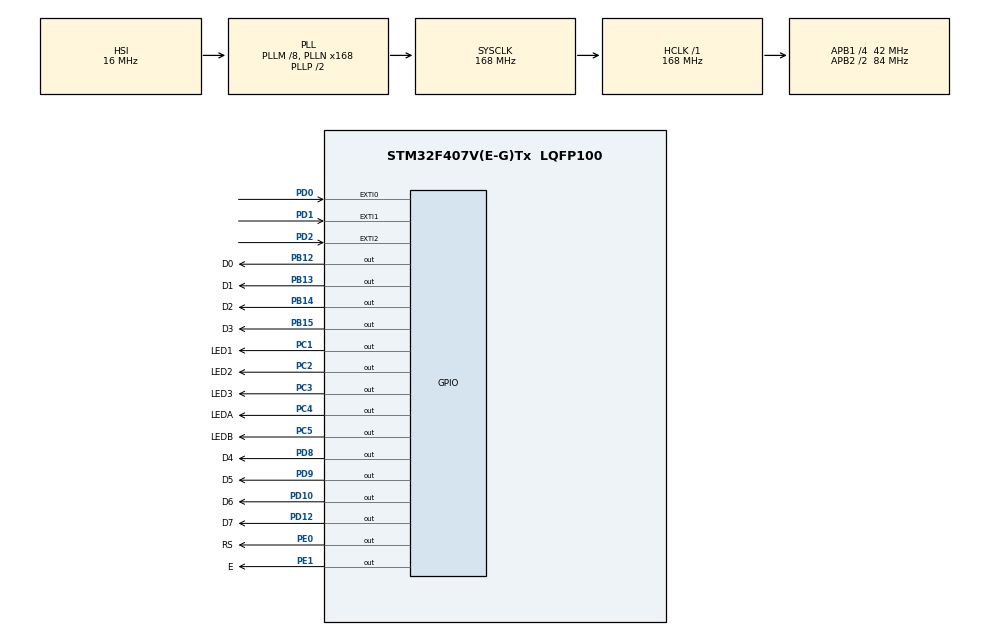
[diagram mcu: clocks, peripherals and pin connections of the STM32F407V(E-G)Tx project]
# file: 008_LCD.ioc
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Mcu.Family=STM32F4
Mcu.Name=STM32F407V(E-G)Tx
Mcu.Package=LQFP100
NVIC.PriorityGroup=NVIC_PRIORITYGROUP_4
PB12.GPIO_Label=D0
PB12.Signal=GPIO_Output
PB13.GPIO_Label=D1
PB13.Signal=GPIO_Output
PB14.GPIO_Label=D2
PB14.Signal=GPIO_Output
PB15.GPIO_Label=D3
PB15.Signal=GPIO_Output
PC1.GPIO_Label=LED1
PC1.Signal=GPIO_Output
PC2.GPIO_Label=LED2
PC2.Signal=GPIO_Output
PC3.GPIO_Label=LED3
PC3.Signal=GPIO_Output
PC4.GPIO_Label=LEDA
PC4.Signal=GPIO_Output
PC5.GPIO_Label=LEDB
PC5.Signal=GPIO_Output
PD0.Signal=GPXTI0
PD1.Signal=GPXTI1
PD10.GPIO_Label=D6
PD10.Signal=GPIO_Output
PD12.GPIO_Label=D7
PD12.Signal=GPIO_Output
PD2.Signal=GPXTI2
PD8.GPIO_Label=D4
PD8.Signal=GPIO_Output
PD9.GPIO_Label=D5
PD9.Signal=GPIO_Output
PE0.GPIO_Label=RS
PE0.Signal=GPIO_Output
PE1.GPIO_Label=E
PE1.Signal=GPIO_Output
PH0-OSC_IN.Mode=HSE-External-Oscillator
PH0-OSC_IN.Signal=RCC_OSC_IN
PH1-OSC_OUT.Mode=HSE-External-Oscillator
PH1-OSC_OUT.Signal=RCC_OSC_OUT
ProjectManager.HeapSize=0x200
ProjectManager.StackSize=0x400
ProjectManager.TargetToolchain=STM32CubeIDE
RCC.48MHZClocksFreq_Value=84000000
RCC.AHBFreq_Value=168000000
RCC.APB1CLKDivider=RCC_HCLK_DIV4
RCC.APB1Freq_Value=42000000
RCC.APB1TimFreq_Value=84000000
RCC.APB2CLKDivider=RCC_HCLK_DIV2
RCC.APB2Freq_Value=84000000
RCC.APB2TimFreq_Value=168000000
RCC.CortexFreq_Value=168000000
RCC.HCLKFreq_Value=168000000
RCC.HSE_VALUE=25000000
RCC.HSI_VALUE=16000000
RCC.LSE_VALUE=32768
RCC.PLLM=8
RCC.PLLN=168
RCC.SYSCLKFreq_VALUE=168000000
RCC.SYSCLKSource=RCC_SYSCLKSOURCE_PLLCLK
RCC.VCOOutputFreq_Value=336000000
board=custom

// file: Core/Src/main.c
/* USER CODE BEGIN Header */
/**
  ******************************************************************************
  * @file           : main.c
  * @brief          : Main program body
  ******************************************************************************
  * @attention
  *
  * <h2><center>&copy; Copyright (c) 2020 STMicroelectronics.
  * All rights reserved.</center></h2>
  *
  * This software component is licensed by ST under BSD 3-Clause license,
  * the "License"; You may not use this file except in compliance with the
  * License. You may obtain a copy of the License at:
  *                        opensource.org/licenses/BSD-3-Clause
  *
  ******************************************************************************
  */
/* USER CODE END Header */
#include "main.h"

/* USER CODE BEGIN Includes */
#include "STM_MY_LCD16X2.h"

uint16_t adc_value=0;

/* USER CODE END Includes */

/* USER CODE BEGIN PM */
void LCD1602_PrintInt(int number)
{

	int birlerDigit = number % 10 ;
	int onlar = number / 10;
	int onlarDigit = onlar %10;
	int yuzler = number /100 ;
	int yuzlerDigit = yuzler%10;
	int binler = number /1000;
	int binlerDigit = binler%10;

	char numStr[16];

			numStr[3]= birlerDigit +48;
			numStr[2]= onlarDigit +48;
			numStr[1]= yuzlerDigit +48;
			numStr[0]= binlerDigit +48;

	LCD1602_print(numStr);

}
/* USER CODE END PM */

void SystemClock_Config(void);
static void MX_GPIO_Init(void);

int main(void)
{

  /* MCU Configuration--------------------------------------------------------*/

  /* Reset of all peripherals, Initializes the Flash interface and the Systick. */
  HAL_Init();

  /* Configure the system clock */
  SystemClock_Config();

  /* Initialize all configured peripherals */
  MX_GPIO_Init();
  /* USER CODE BEGIN 2 */

  LCD1602_Begin8BIT(RS_GPIO_Port, RS_Pin, E_Pin, D0_GPIO_Port, D0_Pin, D1_Pin, D2_Pin, D3_Pin, D4_GPIO_Port, D4_Pin, D5_Pin, D6_Pin, D7_Pin);
  LCD1602_print("TESTTTTTTTTT");

  //2) LCD begin 4 bits function

  /* USER CODE END 2 */

  /* Infinite loop */
  while (1)
  {

    /* USER CODE BEGIN 3 */

	  LCD1602_OneLine();
	  LCD1602_print("Hello World");
	  HAL_Delay(100);
	  LCD1602_print("World Hello");

  }
  /* USER CODE END 3 */
}

void SystemClock_Config(void)
{
  RCC_OscInitTypeDef RCC_OscInitStruct = {0};
  RCC_ClkInitTypeDef RCC_ClkInitStruct = {0};

  /** Configure the main internal regulator output voltage
  */
  __HAL_RCC_PWR_CLK_ENABLE();
  __HAL_PWR_VOLTAGESCALING_CONFIG(PWR_REGULATOR_VOLTAGE_SCALE1);
  /** Initializes the RCC Oscillators according to the specified parameters
  * in the RCC_OscInitTypeDef structure.
  */
  RCC_OscInitStruct.OscillatorType = RCC_OSCILLATORTYPE_HSI;
  RCC_OscInitStruct.HSIState = RCC_HSI_ON;
  RCC_OscInitStruct.HSICalibrationValue = RCC_HSICALIBRATION_DEFAULT;
  RCC_OscInitStruct.PLL.PLLState = RCC_PLL_ON;
  RCC_OscInitStruct.PLL.PLLSource = RCC_PLLSOURCE_HSI;
  RCC_OscInitStruct.PLL.PLLM = 8;
  RCC_OscInitStruct.PLL.PLLN = 168;
  RCC_OscInitStruct.PLL.PLLP = RCC_PLLP_DIV2;
  RCC_OscInitStruct.PLL.PLLQ = 4;
  if (HAL_RCC_OscConfig(&RCC_OscInitStruct) != HAL_OK)
  {
    Error_Handler();
  }
  /** Initializes the CPU, AHB and APB buses clocks
  */
  RCC_ClkInitStruct.ClockType = RCC_CLOCKTYPE_HCLK|RCC_CLOCKTYPE_SYSCLK
                              |RCC_CLOCKTYPE_PCLK1|RCC_CLOCKTYPE_PCLK2;
  RCC_ClkInitStruct.SYSCLKSource = RCC_SYSCLKSOURCE_PLLCLK;
  RCC_ClkInitStruct.AHBCLKDivider = RCC_SYSCLK_DIV1;
  RCC_ClkInitStruct.APB1CLKDivider = RCC_HCLK_DIV4;
  RCC_ClkInitStruct.APB2CLKDivider = RCC_HCLK_DIV2;

  if (HAL_RCC_ClockConfig(&RCC_ClkInitStruct, FLASH_LATENCY_5) != HAL_OK)
  {
    Error_Handler();
  }
}

static void MX_GPIO_Init(void)
{
  GPIO_InitTypeDef GPIO_InitStruct = {0};

  /* GPIO Ports Clock Enable */
  __HAL_RCC_GPIOH_CLK_ENABLE();
  __HAL_RCC_GPIOC_CLK_ENABLE();
  __HAL_RCC_GPIOB_CLK_ENABLE();
  __HAL_RCC_GPIOD_CLK_ENABLE();
  __HAL_RCC_GPIOE_CLK_ENABLE();

  /*Configure GPIO pin Output Level */
  HAL_GPIO_WritePin(GPIOC, LED1_Pin|LED2_Pin|LED3_Pin|LEDA_Pin
                          |LEDB_Pin, GPIO_PIN_RESET);

  /*Configure GPIO pin Output Level */
  HAL_GPIO_WritePin(GPIOB, D0_Pin|D1_Pin|D2_Pin|D3_Pin, GPIO_PIN_RESET);

  /*Configure GPIO pin Output Level */
  HAL_GPIO_WritePin(GPIOD, D4_Pin|D5_Pin|D6_Pin|D7_Pin, GPIO_PIN_RESET);

  /*Configure GPIO pin Output Level */
  HAL_GPIO_WritePin(GPIOE, RS_Pin|E_Pin, GPIO_PIN_RESET);

  /*Configure GPIO pins : LED1_Pin LED2_Pin LED3_Pin LEDA_Pin
                           LEDB_Pin */
  GPIO_InitStruct.Pin = LED1_Pin|LED2_Pin|LED3_Pin|LEDA_Pin
                          |LEDB_Pin;
  GPIO_InitStruct.Mode = GPIO_MODE_OUTPUT_PP;
  GPIO_InitStruct.Pull = GPIO_NOPULL;
  GPIO_InitStruct.Speed = GPIO_SPEED_FREQ_LOW;
  HAL_GPIO_Init(GPIOC, &GPIO_InitStruct);

  /*Configure GPIO pins : D0_Pin D1_Pin D2_Pin D3_Pin */
  GPIO_InitStruct.Pin = D0_Pin|D1_Pin|D2_Pin|D3_Pin;
  GPIO_InitStruct.Mode = GPIO_MODE_OUTPUT_PP;
  GPIO_InitStruct.Pull = GPIO_NOPULL;
  GPIO_InitStruct.Speed = GPIO_SPEED_FREQ_LOW;
  HAL_GPIO_Init(GPIOB, &GPIO_InitStruct);

  /*Configure GPIO pins : D4_Pin D5_Pin D6_Pin D7_Pin */
  GPIO_InitStruct.Pin = D4_Pin|D5_Pin|D6_Pin|D7_Pin;
  GPIO_InitStruct.Mode = GPIO_MODE_OUTPUT_PP;
  GPIO_InitStruct.Pull = GPIO_NOPULL;
  GPIO_InitStruct.Speed = GPIO_SPEED_FREQ_LOW;
  HAL_GPIO_Init(GPIOD, &GPIO_InitStruct);

  /*Configure GPIO pins : PD0 PD1 PD2 */
  GPIO_InitStruct.Pin = GPIO_PIN_0|GPIO_PIN_1|GPIO_PIN_2;
  GPIO_InitStruct.Mode = GPIO_MODE_IT_RISING;
  GPIO_InitStruct.Pull = GPIO_NOPULL;
  HAL_GPIO_Init(GPIOD, &GPIO_InitStruct);

  /*Configure GPIO pins : RS_Pin E_Pin */
  GPIO_InitStruct.Pin = RS_Pin|E_Pin;
  GPIO_InitStruct.Mode = GPIO_MODE_OUTPUT_PP;
  GPIO_InitStruct.Pull = GPIO_NOPULL;
  GPIO_InitStruct.Speed = GPIO_SPEED_FREQ_LOW;
  HAL_GPIO_Init(GPIOE, &GPIO_InitStruct);

}

void Error_Handler(void)
{
}

/************************ (C) COPYRIGHT STMicroelectronics *****END OF FILE****/
